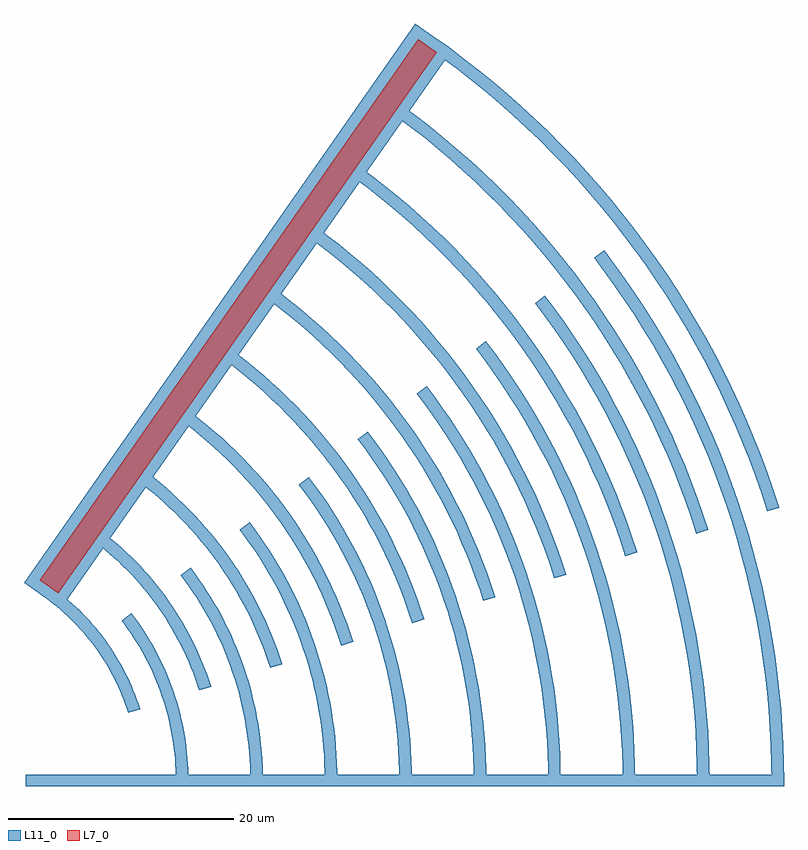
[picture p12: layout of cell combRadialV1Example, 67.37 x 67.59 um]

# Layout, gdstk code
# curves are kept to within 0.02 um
import gdstk
lib = gdstk.Library(unit=1e-6, precision=1e-09)
def R(c, l, rs):  # rectangles x0, y0, x1, y1
    for r in rs: c.add(gdstk.rectangle(r[:2], r[2:], *l))
def P(c, l, *ps):  # polygons
    for p in ps: c.add(gdstk.Polygon(p, *l))
L7_0 = (7, 0)
L11_0 = (11, 0)

combradialv1example = lib.new_cell('combRadialV1Example')
P(combradialv1example, L7_0, [(12.864,16.629),(11.226,17.775),(44.78,65.696),(46.419,64.549)])
R(combradialv1example, L11_0, [(10,-0.5,77.2,0.5)])
P(combradialv1example, L11_0, [(13.11,15.236),(9.833,17.53),(44.534,67.088),(47.812,64.795)],
  [(23.3,0),(23.281,0.953),(23.222,1.904),(22.989,3.795),(22.602,5.661),(22.063,7.49),(21.378,9.268),(20.549,10.984),(19.582,12.626),(18.485,14.184),(19.358,14.854),(19.949,14.05),(20.507,13.222),(21.031,12.372),(21.75,11.06),(22.184,10.161),(22.765,8.781),(23.261,7.369),(23.543,6.412),(23.988,4.466),(24.217,2.987),(24.354,1.496),(24.4,0)],
  [(19.074,6.014),(18.519,7.553),(17.84,9.041),(17.041,10.469),(16.129,11.826),(15.108,13.105),(13.987,14.296),(12.772,15.391),(11.472,16.383),(12.102,17.284),(12.799,16.775),(13.804,15.958),(14.756,15.082),(15.361,14.466),(16.219,13.497),(16.757,12.822),(17.268,12.126),(17.979,11.044),(18.622,9.921),(19.195,8.76),(19.696,7.567),(20.123,6.345)],
  [(29.9,0),(29.844,1.833),(29.744,3.052),(29.594,4.266),(29.277,6.073),(28.849,7.857),(28.504,9.03),(28.111,10.188),(27.671,11.329),(26.924,13.005),(26.076,14.631),(25.456,15.685),(24.446,17.217),(23.721,18.202),(24.594,18.872),(25.345,17.85),(26.054,16.799),(26.719,15.719),(27.633,14.051),(28.184,12.909),(28.923,11.157),(29.355,9.965),(29.911,8.146),(30.354,6.296),(30.586,5.05),(30.767,3.795),(30.942,1.901),(31,0)],
  [(25.369,7.999),(25.021,9.03),(24.63,10.045),(24.199,11.044),(23.727,12.024),(23.215,12.985),(22.665,13.923),(22.077,14.838),(21.451,15.729),(20.79,16.593),(20.094,17.429),(19.365,18.236),(18.603,19.013),(17.81,19.758),(16.987,20.47),(16.135,21.147),(15.257,21.789),(15.888,22.691),(17.25,21.674),(18.121,20.95),(18.963,20.191),(20.166,18.991),(21.292,17.718),(21.999,16.833),(22.669,15.919),(23.301,14.979),(24.176,13.522),(24.708,12.522),(25.2,11.501),(25.857,9.934),(26.418,8.33)],
  [(36.5,0),(36.469,1.493),(36.378,2.983),(36.127,5.208),(35.883,6.681),(35.58,8.143),(35.014,10.309),(34.563,11.733),(34.054,13.136),(33.489,14.518),(32.535,16.544),(31.832,17.861),(31.074,19.148),(29.842,21.017),(28.957,22.22),(29.83,22.889),(31.178,21.017),(32.011,19.725),(32.791,18.399),(33.516,17.043),(34.185,15.658),(35.081,13.532),(35.605,12.086),(36.069,10.62),(36.652,8.388),(37.098,6.125),(37.404,3.838),(37.569,1.538),(37.6,0)],
  [(43.1,0),(43.064,1.763),(42.956,3.522),(42.659,6.15),(42.202,8.754),(41.808,10.472),(41.345,12.173),(40.813,13.854),(40.212,15.511),(39.544,17.143),(38.418,19.536),(37.148,21.855),(36.223,23.356),(35.238,24.817),(34.194,26.238),(35.066,26.907),(36.137,25.451),(37.148,23.952),(38.547,21.629),(39.399,20.034),(40.185,18.406),(41.238,15.907),(41.854,14.208),(42.4,12.484),(43.086,9.861),(43.61,7.2),(43.868,5.411),(44.117,2.71),(44.2,0)],
  [(31.663,9.983),(31.229,11.27),(30.742,12.538),(29.915,14.399),(29.301,15.61),(28.638,16.796),(27.554,18.52),(26.774,19.631),(25.949,20.71),(25.08,21.754),(23.699,23.251),(22.728,24.201),(21.202,25.549),(20.139,26.394),(19.043,27.196),(19.674,28.097),(21.36,26.838),(22.439,25.942),(23.481,25.002),(24.484,24.021),(25.446,23),(26.365,21.94),(27.661,20.282),(28.467,19.134),(29.226,17.954),(29.936,16.743),(30.906,14.876),(31.76,12.953),(32.495,10.981),(32.712,10.314)],
  [(49.7,0),(49.658,2.032),(49.534,4.062),(49.326,6.084),(49.191,7.091),(49.036,8.096),(48.664,10.094),(48.211,12.076),(47.676,14.038),(47.062,15.976),(46.37,17.887),(45.994,18.831),(45.186,20.697),(44.301,22.527),(43.343,24.32),(42.837,25.201),(41.77,26.932),(40.634,28.618),(39.43,30.255),(40.302,30.925),(41.533,29.251),(42.695,27.528),(43.785,25.759),(44.802,23.947),(45.282,23.026),(46.186,21.155),(46.609,20.206),(47.396,18.283),(48.104,16.329),(48.732,14.348),(49.278,12.343),(49.52,11.333),(49.942,9.298),(50.28,7.248),(50.418,6.218),(50.535,5.186),(50.704,3.115),(50.758,2.077),(50.8,0)],
  [(37.958,11.968),(37.153,14.273),(36.538,15.781),(35.862,17.262),(35.126,18.714),(34.331,20.135),(33.032,22.202),(31.608,24.186),(30.593,25.458),(29.526,26.688),(28.41,27.873),(26.648,29.563),(25.416,30.628),(24.143,31.641),(22.828,32.602),(23.459,33.503),(24.81,32.516),(26.119,31.474),(27.384,30.38),(29.195,28.643),(30.897,26.799),(31.967,25.513),(32.984,24.185),(33.945,22.815),(35.28,20.691),(36.483,18.489),(37.548,16.217),(38.471,13.884),(39.007,12.299)],
  [(56.3,0),(56.253,2.302),(56.112,4.601),(55.877,6.892),(55.724,8.033),(55.349,10.305),(54.881,12.56),(54.322,14.794),(53.671,17.003),(52.931,19.184),(52.102,21.332),(51.186,23.445),(50.185,25.519),(49.099,27.55),(48.525,28.548),(47.317,30.508),(46.03,32.418),(44.666,34.273),(45.538,34.943),(46.929,33.051),(48.242,31.105),(49.473,29.106),(50.058,28.088),(51.165,26.017),(52.186,23.903),(53.12,21.749),(53.965,19.558),(54.72,17.335),(55.383,15.083),(55.68,13.947),(56.204,11.658),(56.43,10.506),(56.813,8.19),(57.1,5.86),(57.208,4.691),(57.352,2.347),(57.4,0)],
  [(44.252,13.953),(43.314,16.64),(42.597,18.397),(41.809,20.124),(40.496,22.65),(39.536,24.287),(38.51,25.884),(37.419,27.437),(36.266,28.944),(35.052,30.403),(33.121,32.495),(31.765,33.822),(29.631,35.707),(28.146,36.888),(26.614,38.009),(27.245,38.91),(29.58,37.166),(31.075,35.925),(32.518,34.624),(33.907,33.265),(35.239,31.851),(36.512,30.383),(37.724,28.865),(38.873,27.298),(39.423,26.497),(40.973,24.03),(42.37,21.472),(43.607,18.834),(44.34,17.035),(44.68,16.124),(45.302,14.284)],
  [(62.9,0),(62.847,2.572),(62.69,5.14),(62.427,7.7),(62.06,10.246),(61.589,12.775),(61.315,14.032),(60.69,16.528),(59.963,18.996),(59.136,21.432),(58.21,23.833),(57.187,26.193),(56.068,28.51),(54.855,30.779),(53.55,32.997),(52.156,35.159),(50.675,37.263),(49.902,38.291),(50.775,38.961),(51.561,37.914),(53.068,35.774),(54.487,33.574),(55.814,31.317),(57.048,29.009),(58.187,26.651),(59.228,24.25),(60.17,21.807),(61.012,19.328),(61.751,16.817),(62.082,15.551),(62.666,12.999),(63.145,10.425),(63.519,7.834),(63.666,6.534),(63.88,3.925),(63.987,1.309),(64,0)],
  [(69.5,0),(69.442,2.842),(69.268,5.68),(68.977,8.508),(68.572,11.321),(68.051,14.116),(67.417,16.887),(67.058,18.262),(66.255,20.989),(65.812,22.34),(64.843,25.013),(63.766,27.644),(62.582,30.228),(61.294,32.762),(59.902,35.241),(58.411,37.661),(56.822,40.019),(55.138,42.309),(56.011,42.979),(57.721,40.652),(59.336,38.258),(60.851,35.799),(62.264,33.281),(63.573,30.707),(64.775,28.081),(65.336,26.75),(66.375,24.056),(67.303,21.322),(68.119,18.551),(68.821,15.75),(69.128,14.339),(69.407,12.923),(69.878,10.073),(70.231,7.207),(70.364,5.77),(70.541,2.887),(70.6,0)],
  [(50.547,15.937),(49.853,17.991),(49.076,20.015),(48.216,22.005),(47.756,22.987),(46.776,24.92),(45.718,26.812),(44.583,28.659),(43.374,30.459),(42.092,32.207),(41.424,33.061),(40.038,34.727),(38.584,36.336),(37.066,37.883),(35.485,39.367),(33.846,40.786),(32.15,42.136),(30.4,43.415),(31.03,44.316),(32.817,43.01),(34.548,41.632),(36.222,40.184),(37.036,39.435),(38.618,37.888),(40.135,36.277),(41.585,34.605),(42.965,32.875),(44.274,31.091),(45.508,29.254),(46.097,28.317),(46.666,27.369),(47.747,25.437),(48.257,24.456),(49.217,22.462),(50.094,20.43),(50.888,18.365),(51.596,16.268)],
  [(76.1,0),(76.036,3.112),(75.845,6.219),(75.528,9.315),(75.084,12.396),(74.514,15.456),(74.182,16.977),(73.426,19.997),(72.547,22.983),(71.546,25.93),(70.426,28.834),(69.188,31.69),(67.834,34.493),(66.367,37.238),(65.591,38.588),(63.958,41.238),(62.218,43.819),(60.374,46.327),(61.247,46.996),(63.118,44.452),(64.883,41.834),(66.539,39.146),(68.084,36.392),(69.516,33.577),(70.831,30.706),(72.027,27.784),(73.103,24.815),(73.595,23.315),(74.487,20.286),(75.254,17.223),(75.591,15.68),(76.169,12.576),(76.41,11.015),(76.797,7.881),(77.055,4.734),(77.184,1.579),(77.2,0)],
  [(56.842,17.922),(56.061,20.232),(55.636,21.374),(54.715,23.631),(53.703,25.849),(52.601,28.024),(51.411,30.151),(50.135,32.228),(48.775,34.252),(47.333,36.218),(45.813,38.123),(44.215,39.965),(43.389,40.861),(41.681,42.601),(39.904,44.27),(38.061,45.865),(36.153,47.383),(34.185,48.821),(34.816,49.723),(36.82,48.257),(38.763,46.711),(40.641,45.087),(42.451,43.387),(44.189,41.615),(45.854,39.773),(46.658,38.827),(48.207,36.886),(49.675,34.884),(50.378,33.861),(51.721,31.772),(52.977,29.63),(53.572,28.541),(54.694,26.326),(55.725,24.067),(56.205,22.923),(57.096,20.605),(57.891,18.253)],
  [(63.136,19.907),(62.716,21.194),(61.797,23.741),(60.774,26.248),(59.65,28.711),(58.426,31.127),(57.104,33.49),(55.687,35.797),(54.176,38.045),(52.575,40.228),(50.886,42.345),(49.112,44.39),(47.255,46.362),(45.32,48.255),(43.308,50.068),(41.225,51.797),(40.157,52.63),(37.971,54.228),(38.602,55.129),(40.824,53.504),(42.978,51.79),(45.06,49.989),(47.066,48.105),(48.994,46.14),(50.84,44.097),(52.601,41.981),(54.274,39.795),(55.076,38.677),(56.612,36.392),(58.053,34.047),(58.737,32.852),(59.397,31.644),(60.641,29.189),(61.784,26.684),(62.317,25.415),(63.304,22.845),(64.185,20.238)],
  [(69.431,21.891),(68.968,23.307),(67.958,26.108),(66.833,28.865),(65.597,31.574),(64.251,34.23),(62.797,36.829),(61.238,39.366),(59.577,41.838),(58.709,43.047),(56.9,45.412),(54.995,47.701),(52.998,49.91),(50.913,52.036),(48.742,54.074),(46.49,56.022),(44.16,57.877),(41.756,59.634),(42.387,60.535),(44.827,58.751),(47.193,56.869),(48.346,55.892),(50.591,53.868),(52.752,51.754),(54.824,49.553),(56.805,47.27),(58.69,44.907),(60.477,42.47),(62.164,39.961),(63.746,37.385),(64.497,36.074),(65.221,34.747),(66.588,32.051),(67.843,29.301),(68.428,27.908),(69.512,25.086),(70.48,22.222)],
  [(75.725,23.876),(75.221,25.42),(74.119,28.475),(72.892,31.482),(71.544,34.436),(70.076,37.333),(68.49,40.168),(66.79,42.935),(64.979,45.631),(63.058,48.25),(61.032,50.788),(58.904,53.242),(56.678,55.606),(54.356,57.877),(51.944,60.052),(49.445,62.126),(46.863,64.096),(45.542,65.041),(46.173,65.942),(48.831,63.998),(51.407,61.948),(53.898,59.794),(56.298,57.54),(58.604,55.189),(60.812,52.746),(61.878,51.492),(63.932,48.918),(65.879,46.263),(67.716,43.53),(68.592,42.136),(70.257,39.296),(71.806,36.39),(73.234,33.423),(73.902,31.918),(74.539,30.4),(75.72,27.326),(76.774,24.207)])

lib.write_gds('combRadialV1Example.gds')
